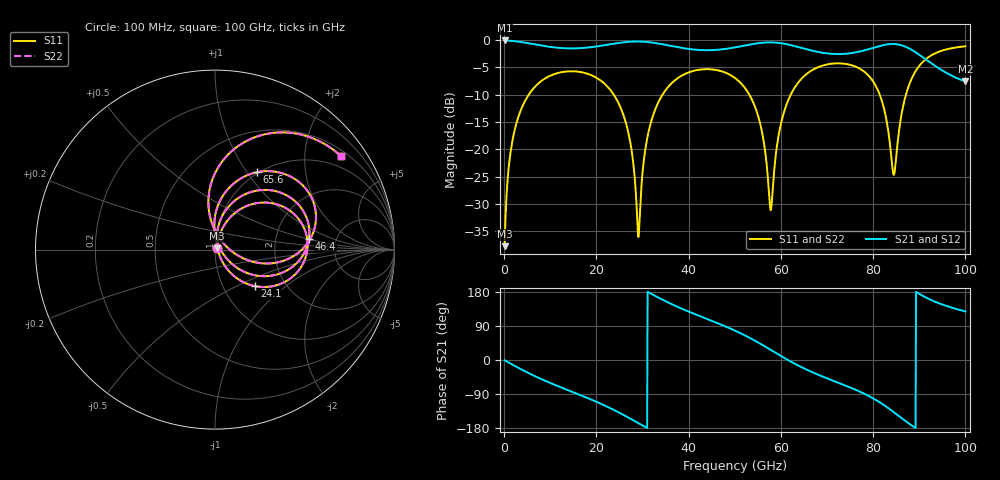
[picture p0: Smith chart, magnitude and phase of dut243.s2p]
! Touchstone file exported from HFSS 2026.1.0
!  File:  C:/ffzhzh/LocalFiles/Ansys_Project_Files/temp_train_TSV_RDL_243_1783667875_26216.aedt
!  Generated:  03:26:07 PM Jul 10, 2026
!  Design:  TSV_RDL
!  Project:  temp_train_TSV_RDL_243_1783667875_26216
! Variables:
!  h_bsmrdl = 2.11um
!  h_ox = 20um
!  h_rdl = 5um
!  h_sub = 61.57um
!  h_tmrdl = 4.26um
!  h_tsv = 61.57um
!  h_via = 3um
!  l_bsmrdl = 203.2um
!  l_sub = 1874.5um
!  l_tmrdl = 188.58um
!  m_sub = 200um
!  pitch = 55.04um
!  r_tsv = 13.4um
!  s_tmrdl = 10um
!  w_bsmrdl = 25.96um
!  w_sub = 500um
!  w_tmrdl = 10.9um
!  x_tsv_center1 = 194.03um
!  x_tsv_center2 = 423.19um
!  x_tsv_center3 = 622.67um
!  x_tsv_center4 = 851.83um
!  x_tsv_center5 = 1051.31um
!  x_tsv_center6 = 1280.47um
# GHz S MA R 50.000000
! Terminal data exported
! Port[1] = TM_RDL1_1_T1
! Port[2] = TM_RDL5_1_T1
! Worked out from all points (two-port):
!   1000 points, 100 MHz to 100 GHz, reference 50 ohm
!   highest |S21| = -0.10 dB at 100 MHz (marker M1); lowest = -7.6 dB at 100 GHz (marker M2)
!   |S21| within 3 dB of the highest: start of sweep to 90.64 GHz
!   lowest |S11| = -37.7 dB at 100 MHz (marker M3), VSWR 1.03, Z = 51.1 + j0.722 ohm
!   |S11| at or under -10 dB: 23.76 GHz to 34.34 GHz (10.59 GHz wide, 36.4 % of centre); 53.15 GHz to 62.14 GHz (8.984 GHz wide, 15.6 % of centre); 81.42 GHz to 87.11 GHz (5.691 GHz wide, 6.75 % of centre) (the widest 3 of 4)
!   |S22| runs from -37.7 to -1.2 dB; largest |S21 - S12| = 1.7e-14
!   S11 on the Smith chart (normalised r, x): 100 MHz: 1.02, +0.01; 24.1 GHz: 1.40, -0.63; 46.4 GHz: 3.13, +0.51; 65.6 GHz: 0.98, +1.11; 100 GHz: 0.66, +2.91
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0.1  0.01302 32.8  0.9891 -0.7  0.9891 -0.7  0.01302 32.8
! Gamma 0 0 0 0
! Port Impedance 50 0 50 0
1.6  0.1075 71.6  0.9803 -10.9  0.9803 -10.9  0.1075 71.6
4.3  0.2652 58.0  0.9478 -28.5  0.9478 -28.5  0.2652 58.0
16.8  0.5066 -5.0  0.8426 -94.0  0.8426 -94.0  0.5066 -4.9
24.1  0.2998 -42.6  0.9287 -133.7  0.9287 -133.7  0.2998 -42.6
27.2  0.1252 -58.0  0.9624 -153.7  0.9624 -153.7  0.1252 -58.0
29.1  0.01576 10.5  0.9676 -166.6  0.9676 -166.6  0.01571 10.4
30.9  0.1188 82.5  0.9587 -178.8  0.9587 -178.8  0.1188 82.6
33.4  0.2675 70.8  0.9277 164.9  0.9277 164.9  0.2675 70.8
46.4  0.5266 6.4  0.814 96.5  0.814 96.5  0.5266 6.4
50.1  0.4471 -11.8  0.8556 77.2  0.8556 77.2  0.4471 -11.7
55  0.2057 -37.2  0.9327 46.7  0.9327 46.7  0.2057 -37.1
57.8  0.02774 26.2  0.9496 26.7  0.9496 26.7  0.02809 26.3
60.6  0.2137 88.4  0.9248 6.4  0.9248 6.4  0.2138 88.3
65.6  0.4895 61.6  0.8211 -25.6  0.8211 -25.6  0.4896 61.6
66.7  0.5272 56.0  0.7995 -31.7  0.7995 -31.7  0.5273 56.0
78.3  0.5032 2.2  0.8072 -90.3  0.8072 -90.3  0.5033 2.3
83.4  0.1353 -14.9  0.9148 -128.0  0.9148 -128.0  0.1356 -14.7
84.6  0.06017 53.1  0.9177 -138.8  0.9177 -138.8  0.06084 53.0
87.2  0.3256 95.7  0.8599 -162.8  0.8599 -162.8  0.3257 95.6
91.2  0.6552 71.4  0.6738 166.5  0.6738 166.5  0.6552 71.4
100  0.8742 36.4  0.4182 128.2  0.4182 128.2  0.8742 36.4
